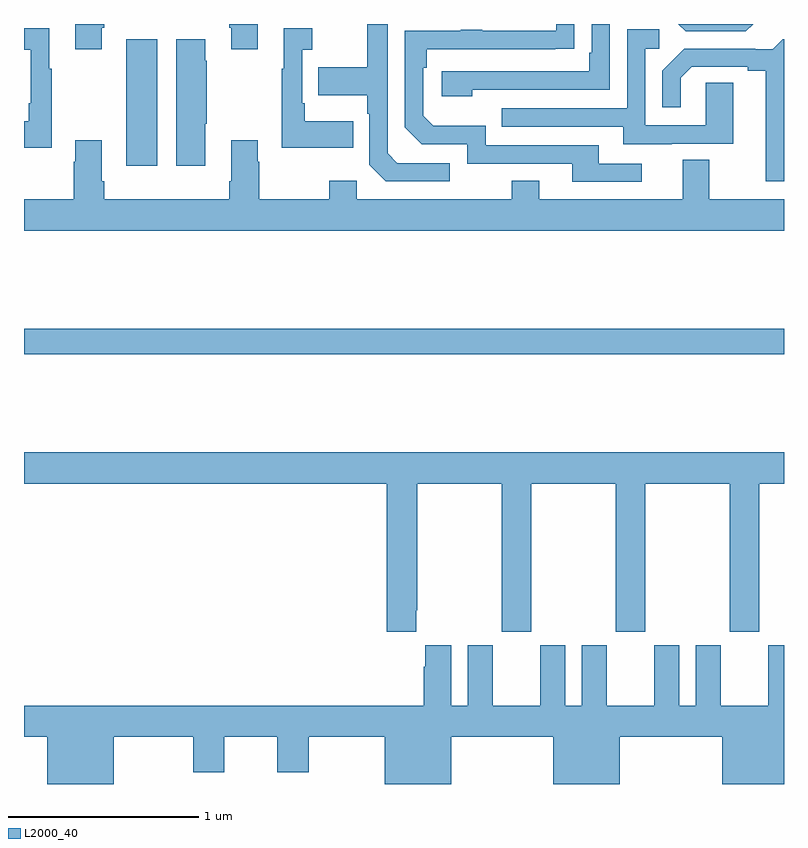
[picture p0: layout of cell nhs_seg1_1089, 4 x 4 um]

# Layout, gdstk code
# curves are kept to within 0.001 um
import gdstk
lib = gdstk.Library(unit=1e-6, precision=1e-09)
def R(c, l, rs):  # rectangles x0, y0, x1, y1
    for r in rs: c.add(gdstk.rectangle(r[:2], r[2:], *l))
def P(c, l, *ps):  # polygons
    for p in ps: c.add(gdstk.Polygon(p, *l))
L2000_40 = (2000, 40)

nhs_seg1_1089 = lib.new_cell('nhs_seg1_1089')
R(nhs_seg1_1089, L2000_40, [(171,504.46,175,504.596), (171.539,505.452,171.7,506.119)])
P(nhs_seg1_1089, L2000_40, [(172.231,506.199),(172.079,506.199),(172.079,506.179),(172.091,506.179),(172.091,506.067),(172.231,506.067)],
  [(171.409,506.179),(171.422,506.179),(171.422,506.199),(171.269,506.199),(171.269,506.067),(171.409,506.067)],
  [(174.25,505.464),(174.025,505.464),(174.025,505.56),(173.43,505.56),(173.43,505.663),(173.153,505.663),(173.1,505.716),(173.1,505.97),(173.12,505.97),(173.12,506.067),(173.897,506.068),(173.897,506.199),(173.801,506.199),(173.801,506.163),(173.411,506.163),(173.411,506.168),(173.299,506.168),(173.299,506.163),(173.004,506.163),(173.004,505.656),(173.094,505.566),(173.334,505.566),(173.334,505.464),(173.885,505.464),(173.885,505.368),(174.25,505.368)],
  [(173.242,505.467),(172.965,505.467),(172.914,505.518),(172.914,506.199),(172.806,506.199),(172.806,505.971),(172.549,505.971),(172.549,505.823),(172.806,505.823),(172.806,505.727),(172.818,505.727),(172.818,505.458),(172.905,505.371),(173.242,505.371)],
  [(174.837,506.199),(174.444,506.199),(174.483,506.16),(174.798,506.16)],
  [(173.36,505.854),(174.084,505.854),(174.084,506.199),(173.988,506.199),(173.988,506.047),(173.975,506.047),(173.975,505.95),(173.199,505.95),(173.199,505.82),(173.36,505.82)],
  [(172.733,505.687),(172.477,505.687),(172.477,505.783),(172.464,505.783),(172.464,506.063),(172.516,506.063),(172.516,506.176),(172.367,506.176),(172.367,505.963),(172.356,505.963),(172.356,505.547),(172.733,505.547)],
  [(171.145,505.963),(171.133,505.963),(171.133,506.176),(171,506.176),(171,506.063),(171.036,506.063),(171.036,505.783),(171.024,505.783),(171.024,505.687),(171,505.687),(171,505.547),(171.145,505.547)],
  [(174.409,505.569),(174.733,505.569),(174.733,505.889),(174.588,505.889),(174.588,505.665),(174.27,505.665),(174.27,506.07),(174.343,506.07),(174.343,506.171),(174.174,506.171),(174.174,505.755),(173.515,505.755),(173.515,505.659),(174.155,505.659),(174.155,505.565),(174.409,505.565)],
  [(171.955,505.675),(171.963,505.675),(171.963,506.006),(171.955,506.006),(171.955,506.119),(171.8,506.119),(171.8,505.452),(171.955,505.452)],
  [(175,506.119),(174.994,506.119),(174.942,506.067),(174.848,506.067),(174.848,506.07),(174.476,506.07),(174.36,505.954),(174.36,505.761),(174.457,505.761),(174.457,505.917),(174.514,505.974),(174.809,505.974),(174.809,505.952),(174.905,505.952),(174.905,505.371),(175,505.371)],
  [(175,505.276),(174.607,505.276),(174.607,505.484),(174.467,505.484),(174.467,505.276),(173.713,505.276),(173.713,505.375),(173.566,505.375),(173.566,505.276),(172.752,505.276),(172.752,505.375),(172.606,505.375),(172.606,505.276),(172.239,505.276),(172.239,505.475),(172.231,505.475),(172.231,505.588),(172.091,505.588),(172.091,505.372),(172.079,505.372),(172.079,505.276),(171.422,505.276),(171.422,505.372),(171.409,505.372),(171.409,505.588),(171.269,505.588),(171.269,505.475),(171.262,505.475),(171.262,505.276),(171,505.276),(171,505.112),(175,505.112)],
  [(173.065,503.113),(173.07,503.113),(173.07,503.78),(173.515,503.78),(173.515,503.001),(173.67,503.001),(173.67,503.78),(174.115,503.78),(174.115,503.001),(174.27,503.001),(174.27,503.78),(174.715,503.78),(174.715,503.001),(174.87,503.001),(174.87,503.78),(175,503.78),(175,503.944),(171,503.944),(171,503.78),(172.91,503.78),(172.91,503.001),(173.065,503.001)],
  [(171,502.448),(171.122,502.448),(171.122,502.199),(171.472,502.199),(171.472,502.448),(171.89,502.448),(171.89,502.26),(172.054,502.26),(172.054,502.448),(172.334,502.448),(172.334,502.26),(172.498,502.26),(172.498,502.448),(172.898,502.448),(172.898,502.199),(173.248,502.199),(173.248,502.448),(173.786,502.448),(173.786,502.199),(174.136,502.199),(174.136,502.448),(174.674,502.448),(174.674,502.199),(175,502.199),(175,502.93),(174.917,502.93),(174.917,502.612),(174.667,502.612),(174.667,502.93),(174.536,502.93),(174.536,502.612),(174.448,502.612),(174.448,502.93),(174.317,502.93),(174.317,502.612),(174.067,502.612),(174.067,502.93),(173.936,502.93),(173.936,502.612),(173.848,502.612),(173.848,502.93),(173.717,502.93),(173.717,502.612),(173.467,502.612),(173.467,502.93),(173.336,502.93),(173.336,502.612),(173.248,502.612),(173.248,502.93),(173.111,502.93),(173.111,502.817),(173.105,502.817),(173.105,502.612),(171,502.612)])

lib.write_gds('nhs_seg1_1089.gds')
